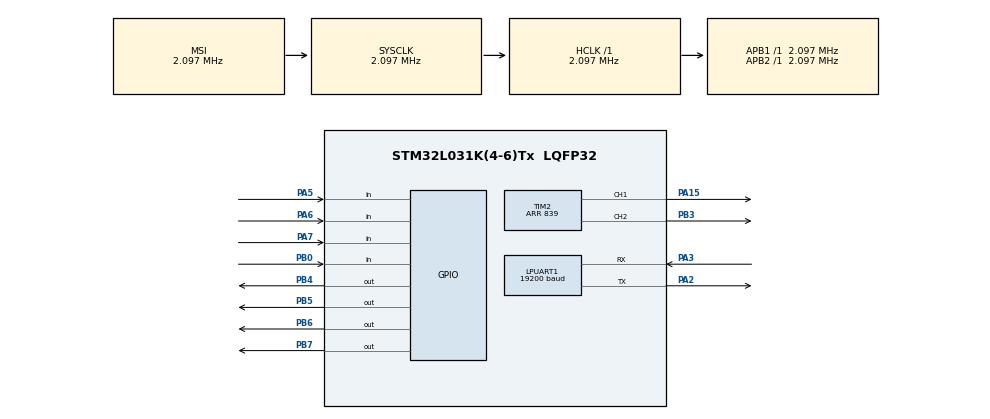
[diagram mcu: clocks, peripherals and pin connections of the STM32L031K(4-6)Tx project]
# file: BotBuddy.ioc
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LPUART1.BaudRate=19200
LPUART1.WordLength=UART_WORDLENGTH_8B
Mcu.Family=STM32L0
Mcu.Name=STM32L031K(4-6)Tx
Mcu.Package=LQFP32
PA15.Signal=S_TIM2_CH1
PA2.Mode=Asynchronous
PA2.Signal=LPUART1_TX
PA3.Mode=Asynchronous
PA3.Signal=LPUART1_RX
PA5.Signal=GPIO_Input
PA6.Signal=GPIO_Input
PA7.Signal=GPIO_Input
PB0.Signal=GPIO_Input
PB3.Signal=S_TIM2_CH2
PB4.Signal=GPIO_Output
PB5.Signal=GPIO_Output
PB6.Signal=GPIO_Output
PB7.Signal=GPIO_Output
ProjectManager.HeapSize=0x200
ProjectManager.StackSize=0x400
ProjectManager.TargetToolchain=STM32CubeIDE
RCC.AHBFreq_Value=2097000
RCC.APB1Freq_Value=2097000
RCC.APB1TimFreq_Value=2097000
RCC.APB2Freq_Value=2097000
RCC.APB2TimFreq_Value=2097000
RCC.HSE_VALUE=8000000
RCC.HSI16_VALUE=16000000
RCC.HSI_VALUE=16000000
RCC.LSE_VALUE=32768
RCC.MSI_VALUE=2097000
RCC.SYSCLKFreq_VALUE=2097000
RCC.VCOOutputFreq_Value=48000000
SH.S_TIM2_CH1.0=TIM2_CH1,PWM Generation1 CH1
SH.S_TIM2_CH2.0=TIM2_CH2,PWM Generation2 CH2
TIM2.Channel-PWM\ Generation1\ CH1=TIM_CHANNEL_1
TIM2.Channel-PWM\ Generation2\ CH2=TIM_CHANNEL_2
TIM2.Period=839
board=custom

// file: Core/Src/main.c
/* USER CODE BEGIN Header */
/**
  ******************************************************************************
  * @file           : main.c
  * @brief          : Main program body
  ******************************************************************************
  * @attention
  *
  * Copyright (c) 2024 STMicroelectronics.
  * All rights reserved.
  *
  * This software is licensed under terms that can be found in the LICENSE file
  * in the root directory of this software component.
  * If no LICENSE file comes with this software, it is provided AS-IS.
  *
  ******************************************************************************
  */
/* USER CODE END Header */
#include "main.h"

/* USER CODE BEGIN PD */
#define PWM_PERIOD	839

/* Define constants for our movements */
#define FORWARD		8
#define BACKWARD	4
#define LEFT		2
#define RIGHT		1

/* POWER = 0 means off and POWER = 1 ON */
#define POWER 	16

/* USER CODE END PD */

/* USER CODE BEGIN PM */
/* Create Global Struct for the BotBuddy */
typedef struct {
	unsigned char power;
	volatile unsigned char button_state; // each bit represents [X, X, X, power, forward, backward, left, right]
	unsigned int  rot_speed; // how fast our motor is spinning

}Bot_Buddy;

/* USER CODE END PM */

UART_HandleTypeDef hlpuart1;

TIM_HandleTypeDef htim2;

/* USER CODE BEGIN PV */

/* define our struct */
Bot_Buddy b_buddy;

/* USER CODE END PV */

void SystemClock_Config(void);
static void MX_GPIO_Init(void);
static void MX_TIM2_Init(void);
static void MX_LPUART1_UART_Init(void);
/* USER CODE BEGIN PFP */

void event_loop(void);
static void BT_BUDDY_Init(void);
static void RUN_MOTOR(void);
static void READ_CONTROLLER(void);

/* USER CODE END PFP */

int main(void)
{

  /* MCU Configuration--------------------------------------------------------*/

  /* Reset of all peripherals, Initializes the Flash interface and the Systick. */
  HAL_Init();

  /* USER CODE BEGIN Init */

  /* Initialize our bot buddy */
   BT_BUDDY_Init();

  /* USER CODE END Init */

  /* Configure the system clock */
  SystemClock_Config();

  /* Initialize all configured peripherals */
  MX_GPIO_Init();
  MX_TIM2_Init();
  MX_LPUART1_UART_Init();
  /* USER CODE BEGIN 2 */
  event_loop();
  /* USER CODE END 2 */

  /* Infinite loop */
  while (1)
  {

  }
}

void SystemClock_Config(void)
{
  RCC_OscInitTypeDef RCC_OscInitStruct = {0};
  RCC_ClkInitTypeDef RCC_ClkInitStruct = {0};
  RCC_PeriphCLKInitTypeDef PeriphClkInit = {0};

  /** Configure the main internal regulator output voltage
  */
  __HAL_PWR_VOLTAGESCALING_CONFIG(PWR_REGULATOR_VOLTAGE_SCALE1);

  /** Initializes the RCC Oscillators according to the specified parameters
  * in the RCC_OscInitTypeDef structure.
  */
  RCC_OscInitStruct.OscillatorType = RCC_OSCILLATORTYPE_MSI;
  RCC_OscInitStruct.MSIState = RCC_MSI_ON;
  RCC_OscInitStruct.MSICalibrationValue = 0;
  RCC_OscInitStruct.MSIClockRange = RCC_MSIRANGE_5;
  RCC_OscInitStruct.PLL.PLLState = RCC_PLL_NONE;
  if (HAL_RCC_OscConfig(&RCC_OscInitStruct) != HAL_OK)
  {
    Error_Handler();
  }

  /** Initializes the CPU, AHB and APB buses clocks
  */
  RCC_ClkInitStruct.ClockType = RCC_CLOCKTYPE_HCLK|RCC_CLOCKTYPE_SYSCLK
                              |RCC_CLOCKTYPE_PCLK1|RCC_CLOCKTYPE_PCLK2;
  RCC_ClkInitStruct.SYSCLKSource = RCC_SYSCLKSOURCE_MSI;
  RCC_ClkInitStruct.AHBCLKDivider = RCC_SYSCLK_DIV1;
  RCC_ClkInitStruct.APB1CLKDivider = RCC_HCLK_DIV1;
  RCC_ClkInitStruct.APB2CLKDivider = RCC_HCLK_DIV1;

  if (HAL_RCC_ClockConfig(&RCC_ClkInitStruct, FLASH_LATENCY_0) != HAL_OK)
  {
    Error_Handler();
  }
  PeriphClkInit.PeriphClockSelection = RCC_PERIPHCLK_LPUART1;
  PeriphClkInit.Lpuart1ClockSelection = RCC_LPUART1CLKSOURCE_PCLK1;
  if (HAL_RCCEx_PeriphCLKConfig(&PeriphClkInit) != HAL_OK)
  {
    Error_Handler();
  }
}

static void MX_LPUART1_UART_Init(void)
{

  hlpuart1.Instance = LPUART1;
  hlpuart1.Init.BaudRate = 19200;
  hlpuart1.Init.WordLength = UART_WORDLENGTH_8B;
  hlpuart1.Init.StopBits = UART_STOPBITS_1;
  hlpuart1.Init.Parity = UART_PARITY_NONE;
  hlpuart1.Init.Mode = UART_MODE_TX_RX;
  hlpuart1.Init.HwFlowCtl = UART_HWCONTROL_NONE;
  hlpuart1.Init.OneBitSampling = UART_ONE_BIT_SAMPLE_DISABLE;
  hlpuart1.AdvancedInit.AdvFeatureInit = UART_ADVFEATURE_NO_INIT;
  if (HAL_UART_Init(&hlpuart1) != HAL_OK)
  {
    Error_Handler();
  }

}

static void MX_TIM2_Init(void)
{

  TIM_MasterConfigTypeDef sMasterConfig = {0};
  TIM_OC_InitTypeDef sConfigOC = {0};

  htim2.Instance = TIM2;
  htim2.Init.Prescaler = 0;
  htim2.Init.CounterMode = TIM_COUNTERMODE_UP;
  htim2.Init.Period = 839;
  htim2.Init.ClockDivision = TIM_CLOCKDIVISION_DIV1;
  htim2.Init.AutoReloadPreload = TIM_AUTORELOAD_PRELOAD_DISABLE;
  if (HAL_TIM_PWM_Init(&htim2) != HAL_OK)
  {
    Error_Handler();
  }
  sMasterConfig.MasterOutputTrigger = TIM_TRGO_RESET;
  sMasterConfig.MasterSlaveMode = TIM_MASTERSLAVEMODE_DISABLE;
  if (HAL_TIMEx_MasterConfigSynchronization(&htim2, &sMasterConfig) != HAL_OK)
  {
    Error_Handler();
  }
  sConfigOC.OCMode = TIM_OCMODE_PWM1;
  sConfigOC.Pulse = 0;
  sConfigOC.OCPolarity = TIM_OCPOLARITY_HIGH;
  sConfigOC.OCFastMode = TIM_OCFAST_DISABLE;
  if (HAL_TIM_PWM_ConfigChannel(&htim2, &sConfigOC, TIM_CHANNEL_1) != HAL_OK)
  {
    Error_Handler();
  }
  if (HAL_TIM_PWM_ConfigChannel(&htim2, &sConfigOC, TIM_CHANNEL_2) != HAL_OK)
  {
    Error_Handler();
  }
  HAL_TIM_MspPostInit(&htim2);

}

static void MX_GPIO_Init(void)
{
  GPIO_InitTypeDef GPIO_InitStruct = {0};

  /* GPIO Ports Clock Enable */
  __HAL_RCC_GPIOA_CLK_ENABLE();
  __HAL_RCC_GPIOB_CLK_ENABLE();

  /*Configure GPIO pin Output Level */
  HAL_GPIO_WritePin(GPIOB, GPIO_PIN_4|GPIO_PIN_5|GPIO_PIN_6|GPIO_PIN_7, GPIO_PIN_RESET);

  /*Configure GPIO pins : PA5 PA6 PA7 */
  GPIO_InitStruct.Pin = GPIO_PIN_5|GPIO_PIN_6|GPIO_PIN_7;
  GPIO_InitStruct.Mode = GPIO_MODE_INPUT;
  GPIO_InitStruct.Pull = GPIO_NOPULL;
  HAL_GPIO_Init(GPIOA, &GPIO_InitStruct);

  /*Configure GPIO pin : PB0 */
  GPIO_InitStruct.Pin = GPIO_PIN_0;
  GPIO_InitStruct.Mode = GPIO_MODE_INPUT;
  GPIO_InitStruct.Pull = GPIO_NOPULL;
  HAL_GPIO_Init(GPIOB, &GPIO_InitStruct);

  /*Configure GPIO pins : PB4 PB5 PB6 PB7 */
  GPIO_InitStruct.Pin = GPIO_PIN_4|GPIO_PIN_5|GPIO_PIN_6|GPIO_PIN_7;
  GPIO_InitStruct.Mode = GPIO_MODE_OUTPUT_PP;
  GPIO_InitStruct.Pull = GPIO_NOPULL;
  GPIO_InitStruct.Speed = GPIO_SPEED_FREQ_LOW;
  HAL_GPIO_Init(GPIOB, &GPIO_InitStruct);

}

/* USER CODE BEGIN 4 */

/* Event loop that handles our botbuddy when it is running */
void event_loop(void) {

	int counter = 0; // FOR TESTING
	int idx = 0;

	while (1) {

		/* FOR TESTING */
		// change button states, go from right, left, backward, forward, power
		idx = (counter % 5);

		b_buddy.rot_speed = (50 + (idx * 10)) % 100;
		//b_buddy.button_state |= (1 << idx);
		//DEBUG_GPIO_TEST();

		while(!b_buddy.button_state){READ_CONTROLLER();}

		switch(b_buddy.button_state){
			/* GPIO_PIN_11 -> write pin
			 * GPIO_PIN_10 -> t2
			 * GPIO_PIN_10 -> t1
			 * GPIO_PIN_10 -> t0
			 * Our encodings are active low because the transmitter is
			 */
			case FORWARD:
				/* set write pin, and [t2, t1, t0] = [0, 0, 0] */
				HAL_GPIO_WritePin(GPIOA, GPIO_PIN_7 | GPIO_PIN_6 | GPIO_PIN_5 | GPIO_PIN_4, 0);

				/* Test for debugging */
				uint8_t Test1[] = "Forward!/n";
				HAL_UART_Transmit(&hlpuart1, Test1, sizeof(Test1), 10);

				break;

			case BACKWARD:
				/* set write pin, and [t2, t1, t0] = [0, 0, 1] */
				HAL_GPIO_WritePin(GPIOA, GPIO_PIN_7 | GPIO_PIN_6 | GPIO_PIN_5, 0);

				/* Test for debugging */
				uint8_t Test2[] = "Backward!/n";
				HAL_UART_Transmit(&hlpuart1, Test2, sizeof(Test2), 10);

				break;

			case LEFT:
				/* set write pin, and [t2, t1, t0] = [0, 1, 0] */
				HAL_GPIO_WritePin(GPIOA, GPIO_PIN_7 | GPIO_PIN_6 | GPIO_PIN_4, 0);

				/* Test for debugging */
				uint8_t Test3[] = "Left!/n";
				HAL_UART_Transmit(&hlpuart1, Test3, sizeof(Test3), 10);

				break;

			case RIGHT:
				/* set write pin, and [t2, t1, t0] = [0, 1, 1] */
				HAL_GPIO_WritePin(GPIOA, GPIO_PIN_7 | GPIO_PIN_6, 0);

				/* Test for debugging */
				uint8_t Test4[] = "Right!/n";
				HAL_UART_Transmit(&hlpuart1, Test4, sizeof(Test4), 10);

				break;
			}

		/* For testing */
		// shift the next bit
		counter++;

		/* Give a delay in order for the reciver to decode and write to the motors */
		HAL_Delay(1000);

		/* reset write pin, and [t2, t1, t0] = [1, 1, 1] */
		HAL_GPIO_WritePin(GPIOA, GPIO_PIN_11 | GPIO_PIN_10 | GPIO_PIN_9 | GPIO_PIN_8, 1);

		/* extra delay just to be safe? */
		HAL_Delay(1000);

		/* Test for debugging */
		uint8_t Test5[] = "Done!\r\n";
		HAL_UART_Transmit(&hlpuart1, Test5, sizeof(Test5), 10);

		// reset button state
		b_buddy.button_state = 0x00;

		//RUN_MOTOR();
		//HAL_Delay(100);
	}
}

/* Reads our GPIO pin*/
void READ_CONTROLLER(void) {
	if (HAL_GPIO_ReadPin (GPIOA, GPIO_PIN_5)) {b_buddy.button_state = FORWARD;}
	else if (HAL_GPIO_ReadPin (GPIOA, GPIO_PIN_6)) {b_buddy.button_state = BACKWARD;}
	else if (HAL_GPIO_ReadPin (GPIOA, GPIO_PIN_7)) {b_buddy.button_state = LEFT;}
	else if (HAL_GPIO_ReadPin (GPIOB, GPIO_PIN_0)) {b_buddy.button_state = RIGHT;}
	else {b_buddy.button_state = 0x00;}
}

/* Initialization funciton for our BotBuddy */
void BT_BUDDY_Init(void) {
	b_buddy.power = 0x00;
	b_buddy.button_state = 0x00;
	b_buddy.rot_speed = 0;
}

void RUN_MOTOR(void) {
	/* RIGHT MOTOR */
	HAL_TIM_PWM_Start(&htim2, TIM_CHANNEL_2);
	__HAL_TIM_SET_COMPARE(&htim2, TIM_CHANNEL_2, (PWM_PERIOD / 100) * b_buddy.rot_speed);

	/* LEFT MOTOR */
	HAL_TIM_PWM_Start(&htim2, TIM_CHANNEL_1);
	__HAL_TIM_SET_COMPARE(&htim2, TIM_CHANNEL_1, (PWM_PERIOD / 100) * b_buddy.rot_speed);
}

/* USER CODE END 4 */

void Error_Handler(void)
{
  __disable_irq();
  while (1)
  {
  }
}
